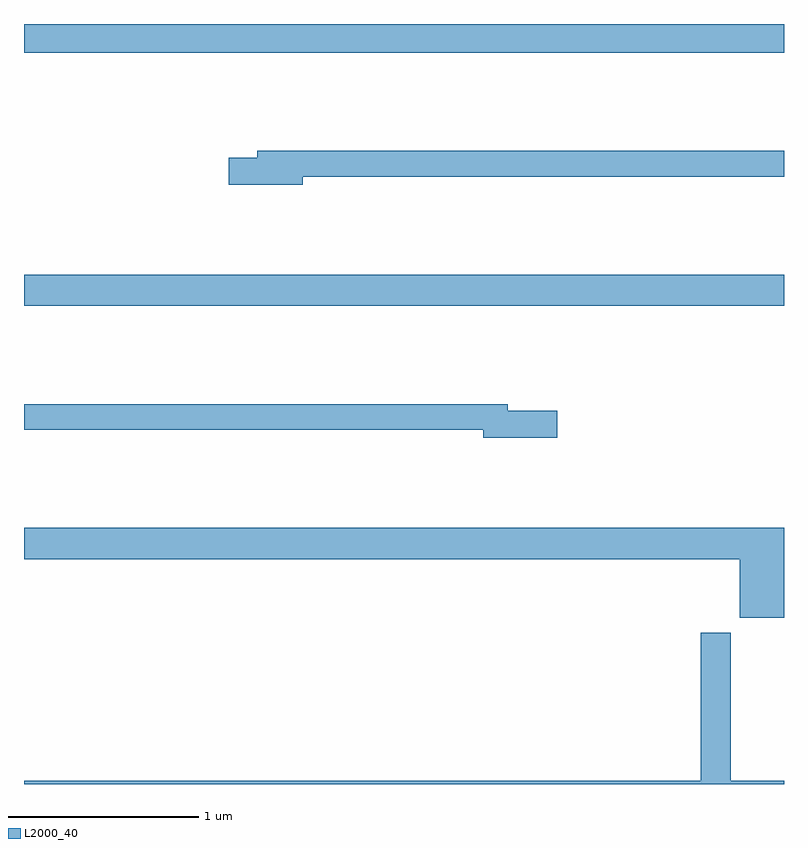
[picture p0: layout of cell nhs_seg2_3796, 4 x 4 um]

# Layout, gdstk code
import gdstk
lib = gdstk.Library(unit=1e-6, precision=1e-09)
def R(c, l, rs):  # rectangles x0, y0, x1, y1
    for r in rs: c.add(gdstk.rectangle(r[:2], r[2:], *l))
def P(c, l, *ps):  # polygons
    for p in ps: c.add(gdstk.Polygon(p, *l))
L2000_40 = (2000, 40)

nhs_seg2_3796 = lib.new_cell('nhs_seg2_3796')
R(nhs_seg2_3796, L2000_40, [(311,634.316,315,634.48), (311,635.648,315,635.8)])
P(nhs_seg2_3796, L2000_40, [(312.466,634.996),(315,634.996),(315,635.132),(312.227,635.132),(312.227,635.096),(312.078,635.096),(312.078,634.954),(312.466,634.954)],
  [(313.807,633.764),(313.546,633.764),(313.546,633.8),(311,633.8),(311,633.664),(313.418,633.664),(313.418,633.622),(313.807,633.622)],
  [(315,633.148),(311,633.148),(311,632.984),(314.768,632.984),(314.768,632.675),(315,632.675)],
  [(315,631.816),(314.721,631.816),(314.721,632.596),(314.561,632.596),(314.561,631.816),(311,631.816),(311,631.8),(315,631.8)])

lib.write_gds('nhs_seg2_3796.gds')
